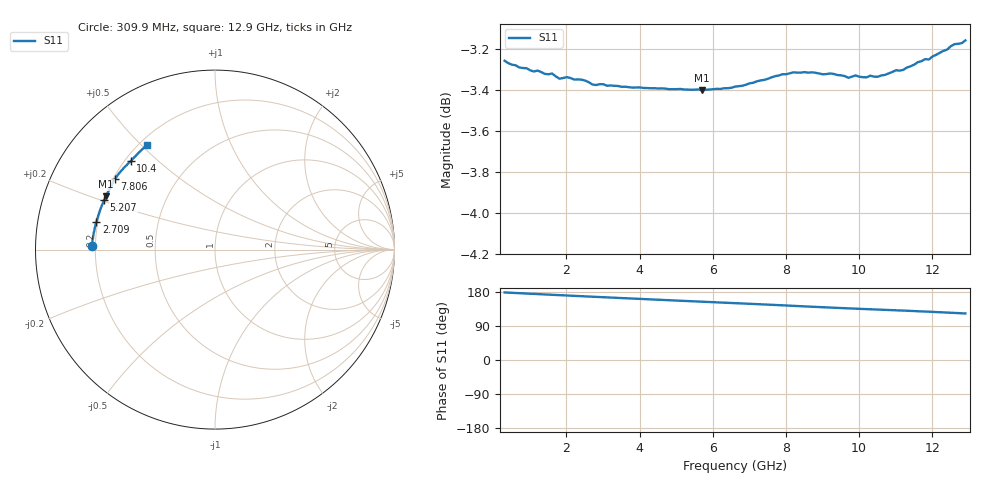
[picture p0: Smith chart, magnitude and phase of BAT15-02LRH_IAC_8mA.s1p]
! Infineon Technologies  Discrete & RF Semiconductors
! BAT15-02LRH
! IAC = 8 mA
! One-Port S-Parameters
# Hz  S  MA  R  50
!f  S11
!Hz  Mag  Ang
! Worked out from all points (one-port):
!   127 points, 309.9 MHz to 12.9 GHz, reference 50 ohm
!   lowest |S11| = -3.4 dB at 5.707 GHz (marker M1), VSWR 5.17, Z = 10.2 + j11.2 ohm
!   |S11| at or under -10 dB: nowhere
!   S11 on the Smith chart (normalised r, x): 309.9 MHz: 0.19, +0.01; 2.709 GHz: 0.19, +0.11; 5.207 GHz: 0.20, +0.20; 7.806 GHz: 0.21, +0.31; 10.4 GHz: 0.22, +0.41; 12.9 GHz: 0.23, +0.52
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3.0985e8  0.6871 178.2
1.2094e9  0.6833 174.0
1.70915e9  0.6811 171.6
1.90905e9  0.6805 170.8
2.4088e9  0.6799 168.4
2.70865e9  0.6781 167.0
3.50825e9  0.6772 163.4
4.008e9  0.6769 161.3
5.10745e9  0.6764 156.4
5.2074e9  0.6761 156.0
5.70715e9  0.6758 153.8
6.6067e9  0.6772 150.0
7.2064e9  0.6793 147.5
7.8061e9  0.6815 144.8
8.2059e9  0.6827 142.9
8.50575e9  0.6827 141.5
9.10545e9  0.682 138.8
9.8051e9  0.6811 135.9
1.04048e10  0.681 133.5
1.14043e10  0.685 129.5
1.16042e10  0.6865 128.6
1.190405e10  0.6876 127.5
1.2004e10  0.6887 127.0
1.24038e10  0.6914 125.2
1.250375e10  0.6927 124.6
1.270365e10  0.6936 123.8
1.28036e10  0.6939 123.2
1.290355e10  0.695 122.8
